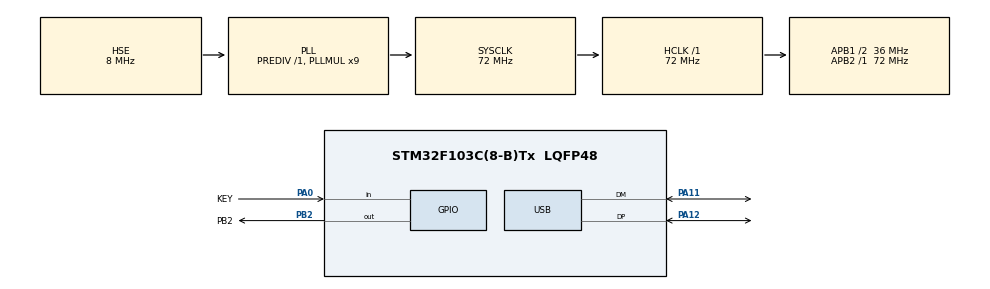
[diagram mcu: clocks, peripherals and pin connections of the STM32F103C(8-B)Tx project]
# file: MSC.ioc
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Mcu.Family=STM32F1
Mcu.Name=STM32F103C(8-B)Tx
Mcu.Package=LQFP48
NVIC.PriorityGroup=NVIC_PRIORITYGROUP_4
NVIC.USB_LP_CAN1_RX0_IRQn=true\:0\:0\:false\:false\:true\:false\:true
PA0-WKUP.GPIO_Label=KEY
PA0-WKUP.GPIO_PuPd=GPIO_PULLDOWN
PA0-WKUP.Signal=GPIO_Input
PA11.Mode=Device
PA11.Signal=USB_DM
PA12.Mode=Device
PA12.Signal=USB_DP
PA13.Mode=Serial_Wire
PA13.Signal=SYS_JTMS-SWDIO
PA14.Mode=Serial_Wire
PA14.Signal=SYS_JTCK-SWCLK
PB2.GPIO_Label=PB2
PB2.Signal=GPIO_Output
PC14-OSC32_IN.Mode=LSE-External-Oscillator
PC14-OSC32_IN.Signal=RCC_OSC32_IN
PC15-OSC32_OUT.Mode=LSE-External-Oscillator
PC15-OSC32_OUT.Signal=RCC_OSC32_OUT
PD0-OSC_IN.Mode=HSE-External-Oscillator
PD0-OSC_IN.Signal=RCC_OSC_IN
PD1-OSC_OUT.Mode=HSE-External-Oscillator
PD1-OSC_OUT.Signal=RCC_OSC_OUT
ProjectManager.HeapSize=0x800
ProjectManager.StackSize=0x400
ProjectManager.TargetToolchain=MDK-ARM V5.27
RCC.AHBFreq_Value=72000000
RCC.APB1CLKDivider=RCC_HCLK_DIV2
RCC.APB1Freq_Value=36000000
RCC.APB1TimFreq_Value=72000000
RCC.APB2Freq_Value=72000000
RCC.APB2TimFreq_Value=72000000
RCC.HCLKFreq_Value=72000000
RCC.PLLMUL=RCC_PLL_MUL9
RCC.RTCClockSelection=RCC_RTCCLKSOURCE_LSE
RCC.SYSCLKFreq_VALUE=72000000
RCC.SYSCLKSource=RCC_SYSCLKSOURCE_PLLCLK
RCC.USBFreq_Value=48000000
RCC.USBPrescaler=RCC_USBCLKSOURCE_PLL_DIV1_5
USB_DEVICE.CLASS_NAME_FS=MSC
USB_DEVICE.MSC_MEDIA_PACKET=1024
USB_DEVICE.VirtualMode=Msc
USB_DEVICE.VirtualModeFS=Msc_FS
VP_RTC_VS_RTC_Activate.Mode=RTC_Enabled
VP_USB_DEVICE_VS_USB_DEVICE_MSC_FS.Mode=MSC_FS
board=custom

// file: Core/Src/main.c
/* USER CODE BEGIN Header */
/**
  ******************************************************************************
  * @file           : main.c
  * @brief          : Main program body
  ******************************************************************************
  * @attention
  *
  * <h2><center>&copy; Copyright (c) 2020 STMicroelectronics.
  * All rights reserved.</center></h2>
  *
  * This software component is licensed by ST under Ultimate Liberty license
  * SLA0044, the "License"; You may not use this file except in compliance with
  * the License. You may obtain a copy of the License at:
  *                             www.st.com/SLA0044
  *
  ******************************************************************************
  */
/* USER CODE END Header */

#include "main.h"
#include "rtc.h"
#include "usb_device.h"
#include "gpio.h"

/* USER CODE BEGIN Includes */
#include "flash_access.h"
/* USER CODE END Includes */

void SystemClock_Config(void);

/* USER CODE BEGIN 0 */
void USB_Reset(void)
{
	if(__HAL_RCC_GET_FLAG(RCC_FLAG_PORRST) != SET)
	{
		GPIO_InitTypeDef GPIO_InitStruct = {0};
		__HAL_RCC_GPIOA_CLK_ENABLE();
		/*Configure GPIO pin Output Level */
		HAL_GPIO_WritePin(GPIOA, GPIO_PIN_12, GPIO_PIN_RESET);

		/*Configure GPIO pin : PtPin */
		GPIO_InitStruct.Pin = GPIO_PIN_12;
		GPIO_InitStruct.Mode = GPIO_MODE_OUTPUT_OD;
		GPIO_InitStruct.Pull = GPIO_NOPULL;
		GPIO_InitStruct.Speed = GPIO_SPEED_FREQ_LOW;
		HAL_GPIO_Init(GPIOA, &GPIO_InitStruct);

		HAL_Delay(100);

		HAL_GPIO_DeInit(GPIOA,GPIO_PIN_12);
	}
	__HAL_RCC_CLEAR_RESET_FLAGS();
}

void LED_Blink(uint32_t delay)
{
	HAL_GPIO_WritePin(PB2_GPIO_Port,PB2_Pin,GPIO_PIN_SET);
	HAL_Delay(delay - 1);
	HAL_GPIO_WritePin(PB2_GPIO_Port,PB2_Pin,GPIO_PIN_RESET);
	if(HAL_GPIO_ReadPin(KEY_GPIO_Port,KEY_Pin) != GPIO_PIN_SET)
		HAL_Delay(500-1);
	else
		HAL_Delay(100-1);
}

 /*
  *power by WeAct Studio
  *The board with `WeAct` Logo && `version number` is our board, quality guarantee.
  *For more information please visit: https://github.com/WeActStudio/BluePill-Plus.git
  *更多信息请访问：https://gitee.com/WeActStudio/BluePill-Plus
  */

/* USER CODE END 0 */

int main(void)
{

  /* MCU Configuration--------------------------------------------------------*/

  /* Reset of all peripherals, Initializes the Flash interface and the Systick. */
  HAL_Init();

  /* Configure the system clock */
  SystemClock_Config();

  /* USER CODE BEGIN SysInit */
  USB_Reset();
  /* USER CODE END SysInit */

  /* Initialize all configured peripherals */
  MX_GPIO_Init();
  MX_RTC_Init();
  /* USER CODE BEGIN 2 */
	if(flashx_init()>0)
	{
		while(1)
		{
			LED_Blink(2);
		}
	}
	MX_USB_DEVICE_Init();
  /* USER CODE END 2 */

  /* Infinite loop */
  while (1)
  {

    /* USER CODE BEGIN 3 */
		LED_Blink(5);
  }
  /* USER CODE END 3 */
}

void SystemClock_Config(void)
{
  RCC_OscInitTypeDef RCC_OscInitStruct = {0};
  RCC_ClkInitTypeDef RCC_ClkInitStruct = {0};
  RCC_PeriphCLKInitTypeDef PeriphClkInit = {0};

  /** Initializes the CPU, AHB and APB busses clocks
  */
  RCC_OscInitStruct.OscillatorType = RCC_OSCILLATORTYPE_HSE|RCC_OSCILLATORTYPE_LSE;
  RCC_OscInitStruct.HSEState = RCC_HSE_ON;
  RCC_OscInitStruct.HSEPredivValue = RCC_HSE_PREDIV_DIV1;
  RCC_OscInitStruct.LSEState = RCC_LSE_ON;
  RCC_OscInitStruct.HSIState = RCC_HSI_ON;
  RCC_OscInitStruct.PLL.PLLState = RCC_PLL_ON;
  RCC_OscInitStruct.PLL.PLLSource = RCC_PLLSOURCE_HSE;
  RCC_OscInitStruct.PLL.PLLMUL = RCC_PLL_MUL9;
  if (HAL_RCC_OscConfig(&RCC_OscInitStruct) != HAL_OK)
  {
    Error_Handler();
  }
  /** Initializes the CPU, AHB and APB busses clocks
  */
  RCC_ClkInitStruct.ClockType = RCC_CLOCKTYPE_HCLK|RCC_CLOCKTYPE_SYSCLK
                              |RCC_CLOCKTYPE_PCLK1|RCC_CLOCKTYPE_PCLK2;
  RCC_ClkInitStruct.SYSCLKSource = RCC_SYSCLKSOURCE_PLLCLK;
  RCC_ClkInitStruct.AHBCLKDivider = RCC_SYSCLK_DIV1;
  RCC_ClkInitStruct.APB1CLKDivider = RCC_HCLK_DIV2;
  RCC_ClkInitStruct.APB2CLKDivider = RCC_HCLK_DIV1;

  if (HAL_RCC_ClockConfig(&RCC_ClkInitStruct, FLASH_LATENCY_2) != HAL_OK)
  {
    Error_Handler();
  }
  PeriphClkInit.PeriphClockSelection = RCC_PERIPHCLK_RTC|RCC_PERIPHCLK_USB;
  PeriphClkInit.RTCClockSelection = RCC_RTCCLKSOURCE_LSE;
  PeriphClkInit.UsbClockSelection = RCC_USBCLKSOURCE_PLL_DIV1_5;
  if (HAL_RCCEx_PeriphCLKConfig(&PeriphClkInit) != HAL_OK)
  {
    Error_Handler();
  }
}

void Error_Handler(void)
{
}

/************************ (C) COPYRIGHT STMicroelectronics *****END OF FILE****/
